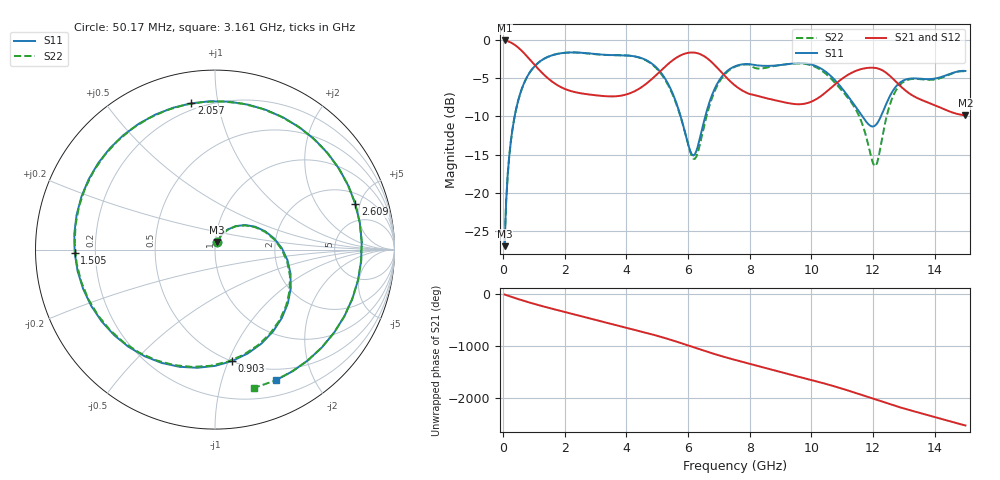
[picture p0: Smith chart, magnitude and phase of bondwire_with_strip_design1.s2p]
! Touchstone file exported from HFSS 2021.1.0
!  File:  /home/yxiao22/Documents/ANSYS/elementary_tests/bondwires_tests.aedt
!  Generated:  7:46:36 PM  Feb 10, 2022
!  Design:  bondwire_with_strip
!  Project:  bondwires_tests
!  Setup:  Setup1
!  Solution:  Sweep
! Variables:
!  bondwire_diam = 0.1mm
!  main_x = 80mm
!  main_y = 10mm
!  sub_z = 1mm
!  tr1_len = 30mm
!  tr1_w = 2mm
!  tr_thickness = 0.0017mm
!  tr_width = 2mm
# GHz S MA R 50.000000
! Terminal data exported
! Port[1] = 1
! Port[2] = 2
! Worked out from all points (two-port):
!   299 points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, 50.17 MHz to 15 GHz, reference 50 ohm
!   highest |S21| = -0.07 dB at 50.17 MHz (marker M1); lowest = -9.9 dB at 15 GHz (marker M2)
!   |S21| within 3 dB of the highest: start of sweep to 980.5 MHz; 5.378 GHz to 6.811 GHz (1.433 GHz wide, 23.5 % of centre)
!   lowest |S11| = -27.0 dB at 50.17 MHz (marker M3), VSWR 1.09, Z = 51.1 + j4.4 ohm
!   |S11| at or under -10 dB: start of sweep to 376.7 MHz; 5.762 GHz to 6.56 GHz (798.2 MHz wide, 13 % of centre); 11.66 GHz to 12.26 GHz (603.1 MHz wide, 5.04 % of centre)
!   |S22| runs from -27.0 to -1.6 dB; largest |S21 - S12| = 1.1e-14
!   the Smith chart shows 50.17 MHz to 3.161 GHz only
!   S11 on the Smith chart (normalised r, x): 50.17 MHz: 1.02, +0.09; 903 MHz: 0.50, -1.03; 1.505 GHz: 0.12, -0.01; 2.057 GHz: 0.16, +0.84; 2.609 GHz: 2.91, +4.54; 3.161 GHz: 0.37, -1.51
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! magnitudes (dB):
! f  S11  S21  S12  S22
! 50.17 MHz  -27.0  -0.1  -0.1  -27.0
! 150.5 MHz  -17.6  -0.2  -0.2  -17.6
! 301 MHz  -11.8  -0.4  -0.4  -11.8
! 551.8 MHz  -7.1  -1.2  -1.2  -7.1
! 903 MHz  -4.0  -2.7  -2.7  -4.0
! 1.505 GHz  -2.1  -5.2  -5.2  -2.1
! 2.057 GHz  -1.7  -6.5  -6.5  -1.7
! 2.559 GHz  -1.7  -7.0  -7.0  -1.7
! 2.609 GHz  -1.7  -7.0  -7.0  -1.7
! 3.161 GHz  -1.9  -7.3  -7.3  -1.9
! 4.164 GHz  -2.1  -6.9  -6.9  -2.1
! 5.067 GHz  -4.0  -4.2  -4.2  -4.1
! 5.518 GHz  -7.1  -2.6  -2.6  -7.3
! 6.221 GHz  -15.0  -1.7  -1.7  -15.6
! 6.873 GHz  -6.3  -3.3  -3.3  -6.6
! 7.575 GHz  -3.4  -6.1  -6.1  -3.4
! 10.03 GHz  -3.3  -8.0  -8.0  -3.4
! 11.39 GHz  -8.4  -4.1  -4.1  -8.7
! 12.04 GHz  -11.3  -3.6  -3.6  -16.4
! 12.54 GHz  -7.4  -4.7  -4.7  -8.6
! 13.09 GHz  -5.1  -6.7  -6.7  -5.3
! 15 GHz  -4.1  -9.9  -9.9  -4.1
